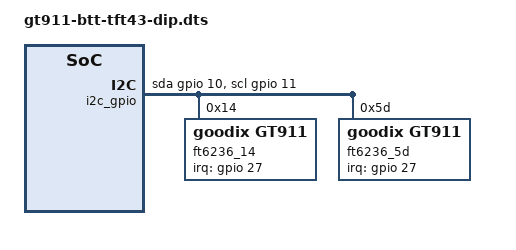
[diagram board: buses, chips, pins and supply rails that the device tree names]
/*
 * gt911-btt-tft43-dip.dts
 */

/dts-v1/;
/plugin/;

/ {
	compatible = "brcm,brcm2711";

    fragment@0 {
		target-path = "/";
		__overlay__ {
			i2c_gpio: i2c@0 {
				compatible = "i2c-gpio";
				gpios = <&gpio 10 0 /* sda */
					 &gpio 11 0>; /* scl */
				i2c-gpio,delay-us = <4>; /* ~100 kHz */
				#address-cells = <1>;
				#size-cells = <0>;
			};
		};
	};

	fragment@1 {
		target = <&i2c_gpio>;
		__overlay__ {
			/* needed to avoid dtc warning */
			#address-cells = <1>;
			#size-cells = <0>;
			ft6236_14: ft6236@14 {
				compatible = "goodix,gt911";
				reg = <0x14>;
				interrupt-parent = <&gpio>;
				interrupts = <27 2>;
				touchscreen-size-x = <800>;
				touchscreen-size-y = <480>;
				touchscreen-x-mm = <95>;
				touchscreen-y-mm = <54>;
			};
			ft6236_5d: ft6236@5d {
				compatible = "goodix,gt911";
				reg = <0x5d>;
				interrupt-parent = <&gpio>;
				interrupts = <27 2>;
				touchscreen-size-x = <800>;
				touchscreen-size-y = <480>;
				touchscreen-x-mm = <95>;
				touchscreen-y-mm = <54>;
			};
		};
	};

	__overrides__ {
		touchscreen-inverted-x = <&ft6236_14>,"touchscreen-inverted-x?",
					 <&ft6236_5d>,"touchscreen-inverted-x?";
		touchscreen-inverted-y = <&ft6236_14>,"touchscreen-inverted-y?",
					 <&ft6236_5d>,"touchscreen-inverted-y?";
		touchscreen-swapped-x-y = <&ft6236_14>,"touchscreen-swapped-x-y?",
					  <&ft6236_5d>,"touchscreen-swapped-x-y?";

		rotate_90 = <&ft6236_14>,"touchscreen-swapped-x-y?",
					<&ft6236_5d>,"touchscreen-swapped-x-y?",
					<&ft6236_14>,"touchscreen-inverted-x?",
					<&ft6236_5d>,"touchscreen-inverted-x?";

		rotate_180 = <&ft6236_14>,"touchscreen-inverted-x?",
						<&ft6236_5d>,"touchscreen-inverted-x?",
						<&ft6236_14>,"touchscreen-inverted-y?",
						<&ft6236_5d>,"touchscreen-inverted-y?";
		
		rotate_270 = <&ft6236_14>,"touchscreen-swapped-x-y?",
						<&ft6236_5d>,"touchscreen-swapped-x-y?",
						<&ft6236_14>,"touchscreen-inverted-y?",
						<&ft6236_5d>,"touchscreen-inverted-y?";
	};
};
